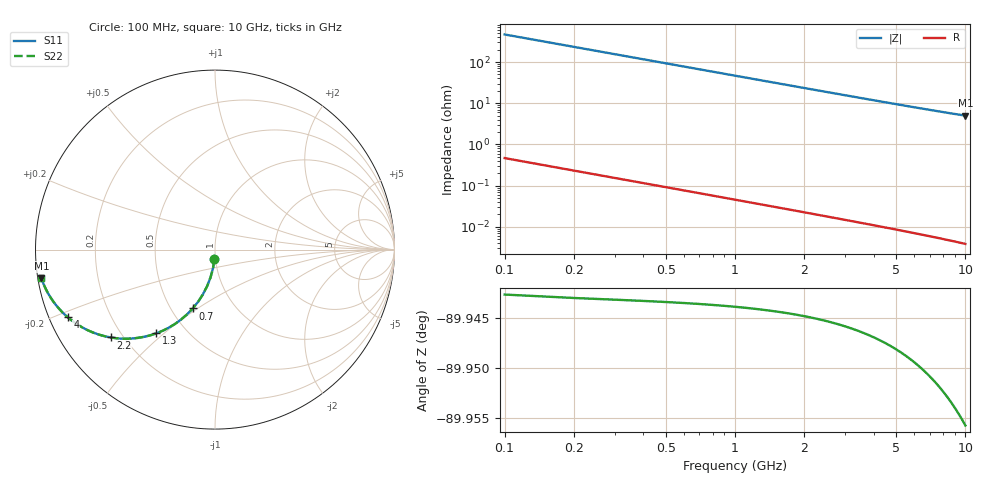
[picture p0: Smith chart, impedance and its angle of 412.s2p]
# Hz S RI R 50.00
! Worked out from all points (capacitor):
!   100 points, 100 MHz to 10 GHz, reference 50 ohm
!   read as one part in shunt: C = 3.42 pF near 100 MHz
!   lowest |Z| = 4.99 ohm at 10 GHz (marker M1)
!   S11 on the Smith chart (normalised r, x): 100 MHz: 0.99, -0.11; 700 MHz: 0.64, -0.48; 1.3 GHz: 0.34, -0.47; 2.2 GHz: 0.15, -0.36; 4 GHz: 0.05, -0.22; 10 GHz: 0.01, -0.08
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1e8  -0.00289 -0.0534  0.997 -0.0537  0.997 -0.0537  -0.00289 -0.0534
2e8  -0.0115 -0.1058  0.9885 -0.1065  0.9885 -0.1065  -0.0115 -0.1058
3e8  -0.0254 -0.1565  0.9745 -0.1574  0.9745 -0.1574  -0.0254 -0.1565
4e8  -0.0442 -0.2046  0.9557 -0.2059  0.9557 -0.2059  -0.0442 -0.2046
5e8  -0.0674 -0.2495  0.9325 -0.2511  0.9325 -0.2511  -0.0674 -0.2495
6e8  -0.0942 -0.2908  0.9057 -0.2926  0.9057 -0.2926  -0.0942 -0.2908
7e8  -0.124 -0.328  0.8759 -0.3302  0.8759 -0.3302  -0.124 -0.328
8e8  -0.156 -0.3611  0.844 -0.3636  0.844 -0.3636  -0.156 -0.3611
1e9  -0.2239 -0.4148  0.776 -0.4179  0.776 -0.4179  -0.2239 -0.4148
1.3e9  -0.3276 -0.4668  0.6723 -0.4709  0.6723 -0.4709  -0.3276 -0.4668
1.5e9  -0.3933 -0.4857  0.6066 -0.4903  0.6066 -0.4903  -0.3933 -0.4857
1.8e9  -0.4827 -0.4964  0.5172 -0.502  0.5172 -0.502  -0.4827 -0.4964
2.2e9  -0.5821 -0.4893  0.4178 -0.4961  0.4178 -0.4961  -0.5821 -0.4893
2.5e9  -0.6426 -0.4748  0.3573 -0.4826  0.3573 -0.4826  -0.6426 -0.4748
2.8e9  -0.6928 -0.4564  0.3071 -0.4652  0.3071 -0.4652  -0.6928 -0.4564
3.4e9  -0.7687 -0.4157  0.2311 -0.4264  0.2311 -0.4264  -0.7687 -0.4157
4e9  -0.8215 -0.376  0.1784 -0.3887  0.1784 -0.3887  -0.8215 -0.376
4.5e9  -0.8535 -0.3458  0.1463 -0.3601  0.1463 -0.3601  -0.8535 -0.3458
5.1e9  -0.8822 -0.3136  0.1176 -0.3298  0.1176 -0.3298  -0.8822 -0.3136
6.7e9  -0.9285 -0.2461  0.0712 -0.2677  0.0712 -0.2677  -0.9285 -0.2461
8.4e9  -0.9536 -0.1956  0.0459 -0.2231  0.0459 -0.2231  -0.9536 -0.1956
1e10  -0.967 -0.1605  0.0323 -0.1937  0.0323 -0.1937  -0.967 -0.1605
